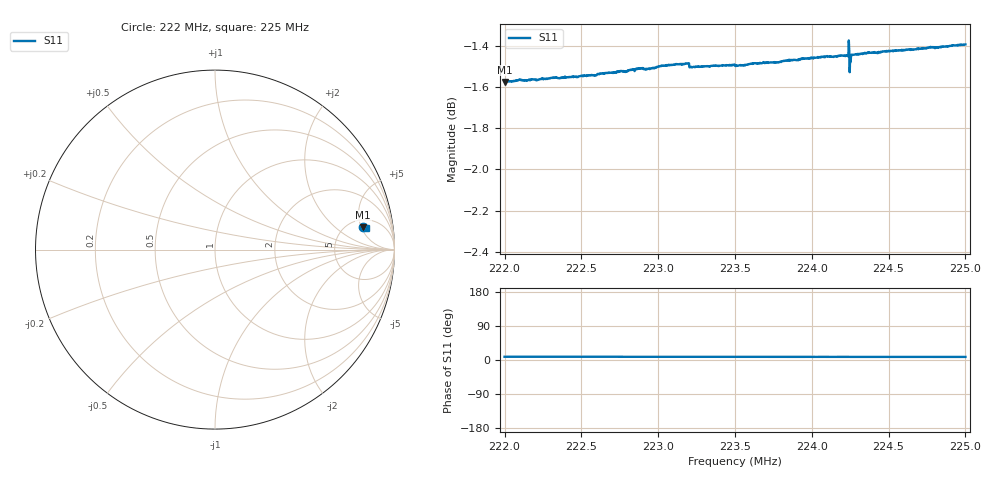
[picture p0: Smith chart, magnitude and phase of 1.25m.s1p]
! Calibrated averaged scanner-service zoom
# Hz S RI R 50
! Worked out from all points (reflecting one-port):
!   1001 points, 222 MHz to 225 MHz, reference 50 ohm
!   lowest |S11| = -1.6 dB at 222 MHz (marker M1), VSWR 11.06, Z = 332 + j269 ohm
!   phase of S11 starts at 9 deg and turns -0 deg over the sweep
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2.22e8  0.8253 0.1234
2.22003e8  0.825 0.1234
2.22318e8  0.8271 0.1231
2.22375e8  0.827 0.1235
2.22585e8  0.828 0.1235
2.2275e8  0.8302 0.1236
2.22789e8  0.8299 0.124
2.22882e8  0.8313 0.1241
2.22918e8  0.8313 0.1229
2.23017e8  0.8326 0.1229
2.23125e8  0.8335 0.123
2.23185e8  0.8338 0.1227
2.23218e8  0.8323 0.1221
2.235e8  0.8334 0.1218
2.23776e8  0.8347 0.1214
2.23875e8  0.8357 0.1213
2.24088e8  0.8374 0.1213
2.24223e8  0.8379 0.1213
2.24229e8  0.8378 0.1211
2.24232e8  0.8379 0.1225
2.2425e8  0.838 0.1214
2.24256e8  0.8384 0.121
2.24262e8  0.8381 0.1212
2.24265e8  0.8383 0.1211
2.24271e8  0.8382 0.1214
2.24286e8  0.8386 0.1212
2.24625e8  0.841 0.1203
2.25e8  0.8435 0.1198
